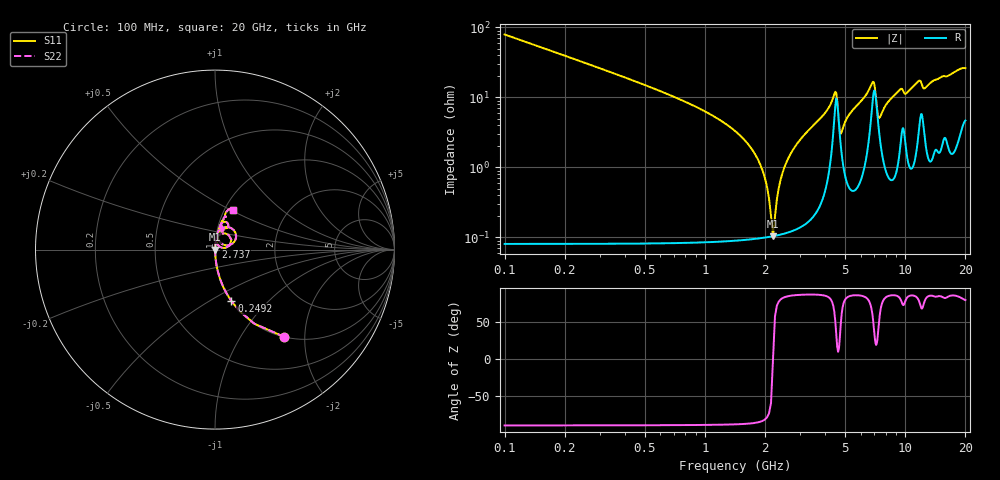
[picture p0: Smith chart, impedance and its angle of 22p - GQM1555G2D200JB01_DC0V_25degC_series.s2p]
!Murata Part Number: GQM1555G2D200JB01
!These Parameters are Measured in Series Mode Connection
!  o--ll--o
!Port1  Port2
!  o------o
!Operation Temp=25[degC], DC Bias Voltage=0[V]
!Freq. Start=100[MHz] Stop=20[GHz], 401[Steps]
!Data Generated on Oct 1, 2024
# Hz S RI R 50
!Freq.(Hz) S11(Real) S11(Imag) S21(Real) S21(Imag) S12(Real) S12(Imag) S22(Real) S22(Imag)
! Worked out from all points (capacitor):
!   401 points, 100 MHz to 20 GHz, reference 50 ohm
!   read as one part in series: C = 20 pF near 199.5 MHz
!   lowest |Z| = 104 mohm at 2.189 GHz (marker M1)
!   series resonance near 2.19 GHz, so ESL is about 260 pH
!   S11 on the Smith chart (normalised r, x): 100 MHz: 1.00, -1.59; 249.2 MHz: 1.00, -0.63; 2.737 GHz: 1.00, +0.03; 20 GHz: 1.09, +0.52
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1e8  0.3869 -0.4865  0.6131 0.4865  0.6131 0.4865  0.3869 -0.4865
2.4925e8  0.091 -0.2863  0.909 0.2863  0.909 0.2863  0.091 -0.2863
6.97e8  0.0113 -0.1016  0.9887 0.1016  0.9887 0.1016  0.0113 -0.1016
1.74175e9  0.00124 -0.0171  0.9988 0.0171  0.9988 0.0171  0.00124 -0.0171
1.94075e9  0.00106 -0.00901  0.9989 0.00901  0.9989 0.00901  0.00106 -0.00901
2.1895e9  0.00104 -2.83e-05  0.999 2.83e-05  0.999 2.83e-05  0.00104 -2.83e-05
2.43825e9  0.00118 0.00813  0.9988 -0.00813  0.9988 -0.00813  0.00118 0.00813
2.73675e9  0.00153 0.0173  0.9985 -0.0173  0.9985 -0.0173  0.00153 0.0173
3.43325e9  0.00334 0.0381  0.9967 -0.0381  0.9967 -0.0381  0.00334 0.0381
4.42825e9  0.0549 0.0907  0.9451 -0.0907  0.9451 -0.0907  0.0549 0.0907
4.82625e9  0.0157 0.0276  0.9843 -0.0276  0.9843 -0.0276  0.0157 0.0276
5.32375e9  0.00833 0.0589  0.9917 -0.0589  0.9917 -0.0589  0.00833 0.0589
6.7665e9  0.0655 0.1254  0.9345 -0.1254  0.9345 -0.1254  0.0655 0.1254
7.01525e9  0.1179 0.071  0.8821 -0.071  0.8821 -0.071  0.1179 0.071
7.41325e9  0.0326 0.0369  0.9674 -0.0369  0.9674 -0.0369  0.0326 0.0369
9.254e9  0.0261 0.1178  0.9739 -0.1178  0.9739 -0.1178  0.0261 0.1178
1.005e10  0.0321 0.105  0.9679 -0.105  0.9679 -0.105  0.0321 0.105
1.169175e10  0.0561 0.1547  0.9439 -0.1547  0.9439 -0.1547  0.0561 0.1547
1.238825e10  0.0497 0.1188  0.9503 -0.1188  0.9503 -0.1188  0.0497 0.1188
1.338325e10  0.0364 0.1535  0.9636 -0.1535  0.9636 -0.1535  0.0364 0.1535
1.67165e10  0.0564 0.1943  0.9436 -0.1943  0.9436 -0.1943  0.0564 0.1943
2e10  0.0994 0.2218  0.9006 -0.2218  0.9006 -0.2218  0.0994 0.2218
